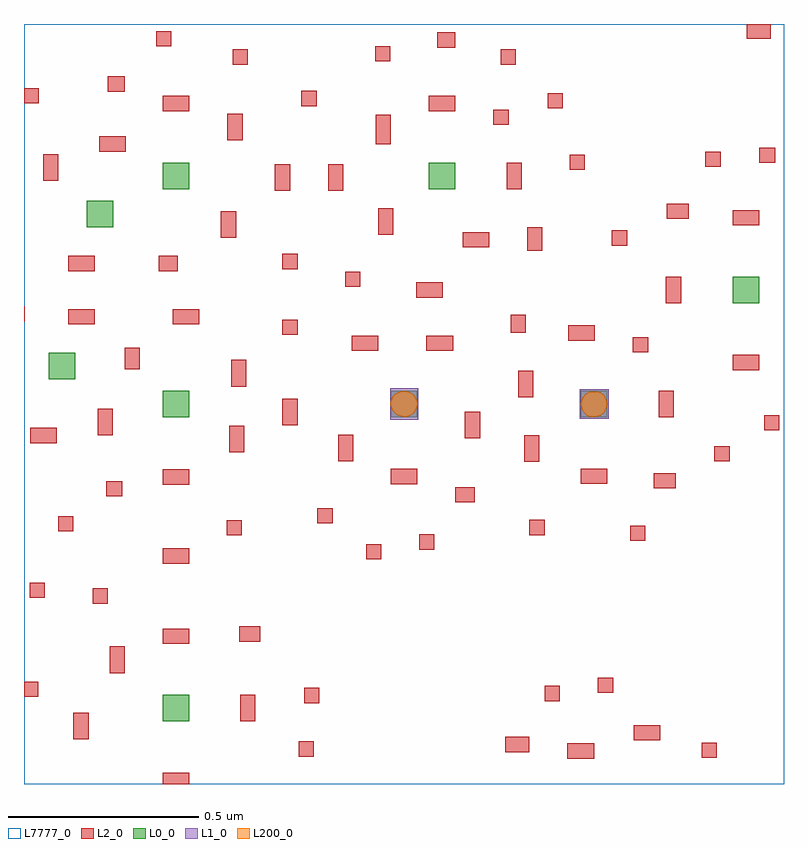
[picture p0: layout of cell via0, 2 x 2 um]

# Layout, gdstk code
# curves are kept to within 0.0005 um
import gdstk
lib = gdstk.Library(unit=1e-6, precision=1e-09)
def R(c, l, rs):  # rectangles x0, y0, x1, y1
    for r in rs: c.add(gdstk.rectangle(r[:2], r[2:], *l))
def P(c, l, *ps):  # polygons
    for p in ps: c.add(gdstk.Polygon(p, *l))
L0_0 = (0, 0)
L1_0 = (1, 0)
L2_0 = (2, 0)
L200_0 = (200, 0)
L7777_0 = (7777, 0)

via0 = lib.new_cell('via0')
R(via0, L0_0, [(84.715,90.465,84.785,90.535), (84.715,91.265,84.785,91.335), (85.315,91.265,85.385,91.335), (85.815,91.265,85.885,91.335), (84.415,91.365,84.485,91.435), (86.215,91.565,86.285,91.635), (84.515,91.765,84.585,91.835), (84.715,91.865,84.785,91.935), (85.415,91.865,85.485,91.935)])
R(via0, L1_0, [(85.314,91.258,85.387,91.342), (85.812,91.261,85.889,91.339)])
R(via0, L2_0, [(84.715,90.3,84.785,90.329), (85.78,90.367,85.85,90.407), (86.133,90.369,86.173,90.409), (85.073,90.372,85.113,90.412), (85.616,90.384,85.68,90.424), (85.954,90.415,86.024,90.455), (84.48,90.418,84.52,90.488), (84.919,90.465,84.959,90.535), (85.087,90.512,85.127,90.553), (85.72,90.518,85.76,90.558), (84.35,90.529,84.388,90.569), (85.86,90.54,85.901,90.58), (84.575,90.592,84.615,90.662), (84.715,90.669,84.785,90.709), (84.916,90.675,84.972,90.715), (84.531,90.775,84.571,90.815), (84.365,90.79,84.405,90.83), (84.715,90.88,84.785,90.92), (85.25,90.891,85.29,90.931), (85.39,90.917,85.43,90.957), (85.945,90.94,85.985,90.98), (84.883,90.954,84.923,90.994), (85.68,90.955,85.72,90.995), (84.44,90.965,84.48,91.005), (85.122,90.986,85.162,91.026), (85.485,91.041,85.536,91.081), (84.566,91.057,84.609,91.097), (86.007,91.078,86.065,91.118), (84.715,91.088,84.785,91.128), (85.315,91.089,85.385,91.129), (85.815,91.09,85.885,91.13), (85.666,91.148,85.706,91.218), (85.177,91.149,85.217,91.219), (86.167,91.149,86.207,91.189), (84.89,91.173,84.93,91.243), (84.366,91.197,84.436,91.237), (85.51,91.21,85.55,91.28), (84.544,91.218,84.584,91.288), (86.298,91.231,86.338,91.271), (85.03,91.244,85.07,91.314), (86.02,91.265,86.06,91.335), (85.65,91.318,85.69,91.388), (84.895,91.346,84.935,91.416), (86.215,91.389,86.285,91.429), (84.615,91.392,84.655,91.448), (85.952,91.436,85.993,91.476), (85.212,91.44,85.282,91.48), (85.409,91.44,85.479,91.48), (85.782,91.467,85.852,91.507), (85.03,91.482,85.07,91.522), (85.631,91.488,85.671,91.535), (84.466,91.51,84.536,91.55), (84.741,91.51,84.811,91.55), (84.35,91.517,84.352,91.557), (86.039,91.565,86.079,91.635), (85.382,91.58,85.452,91.62), (85.195,91.608,85.235,91.648), (84.466,91.65,84.536,91.69), (84.704,91.65,84.755,91.69), (85.03,91.655,85.07,91.695), (85.674,91.703,85.714,91.765), (85.504,91.712,85.574,91.752), (85.897,91.717,85.937,91.757), (84.868,91.737,84.908,91.807), (85.282,91.745,85.322,91.815), (86.215,91.77,86.285,91.81), (86.042,91.787,86.099,91.827), (85.01,91.861,85.05,91.931), (85.15,91.861,85.19,91.931), (85.62,91.865,85.66,91.935), (84.4,91.887,84.44,91.957), (85.786,91.916,85.826,91.956), (86.143,91.924,86.183,91.964), (86.285,91.935,86.327,91.975), (84.548,91.964,84.618,92.004), (85.275,91.984,85.315,92.061), (84.885,91.994,84.925,92.064), (85.585,92.035,85.625,92.075), (84.715,92.071,84.785,92.111), (85.415,92.071,85.485,92.111), (85.728,92.078,85.768,92.118), (85.08,92.084,85.12,92.124), (84.35,92.091,84.389,92.131), (84.57,92.122,84.615,92.162), (84.899,92.193,84.939,92.233), (85.604,92.193,85.644,92.233), (85.274,92.202,85.314,92.242), (85.438,92.238,85.485,92.278), (84.698,92.241,84.738,92.281), (86.252,92.261,86.315,92.3)])
P(via0, L200_0, [(85.35,91.265),(85.332,91.271),(85.321,91.281),(85.316,91.29),(85.314,91.299),(85.315,91.308),(85.321,91.32),(85.327,91.327),(85.341,91.334),(85.359,91.334),(85.369,91.33),(85.378,91.322),(85.385,91.308),(85.386,91.299),(85.384,91.29),(85.378,91.278),(85.369,91.27),(85.359,91.266)],
  [(85.847,91.265),(85.838,91.267),(85.83,91.271),(85.821,91.281),(85.815,91.299),(85.816,91.308),(85.82,91.317),(85.828,91.327),(85.838,91.332),(85.857,91.334),(85.866,91.331),(85.875,91.324),(85.884,91.308),(85.885,91.299),(85.883,91.29),(85.875,91.276),(85.866,91.269)])
R(via0, L7777_0, [(84.35,90.3,86.35,92.3)])

lib.write_gds('via0.gds')
